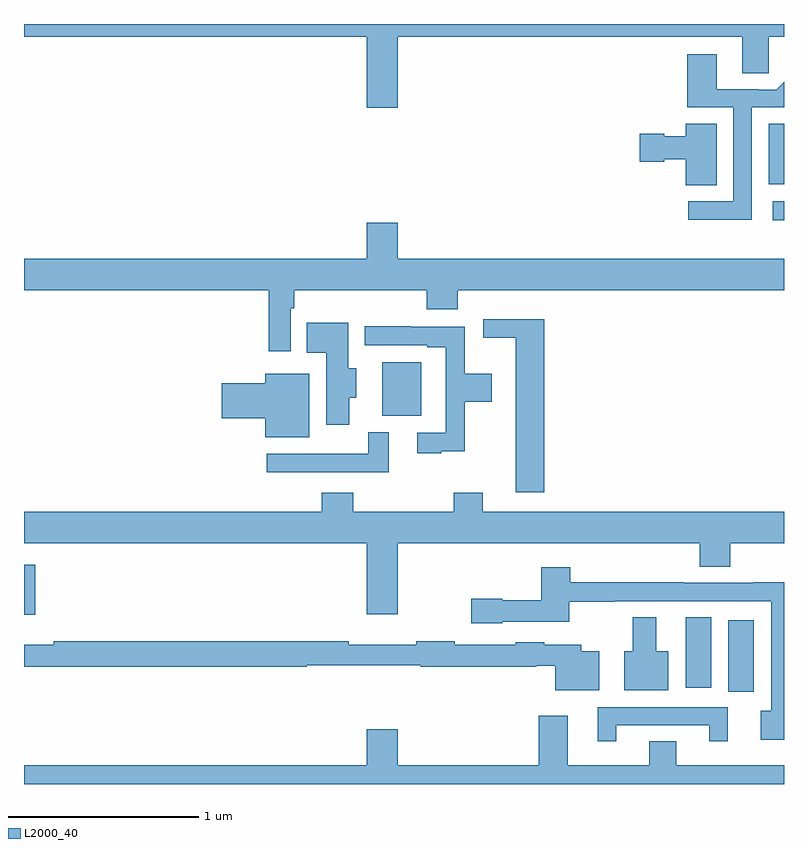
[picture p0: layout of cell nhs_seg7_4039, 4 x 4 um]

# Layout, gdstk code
import gdstk
lib = gdstk.Library(unit=1e-6, precision=1e-09)
def R(c, l, rs):  # rectangles x0, y0, x1, y1
    for r in rs: c.add(gdstk.rectangle(r[:2], r[2:], *l))
def P(c, l, *ps):  # polygons
    for p in ps: c.add(gdstk.Polygon(p, *l))
L2000_40 = (2000, 40)

nhs_seg7_4039 = lib.new_cell('nhs_seg7_4039')
R(nhs_seg7_4039, L2000_40, [(370.706,1014.486,370.84,1014.862), (370.484,1014.507,370.618,1014.878), (367,1014.89,367.06,1015.153), (368.885,1015.937,369.091,1016.221), (370.941,1016.966,371,1017.067), (370.919,1017.156,371,1017.476)])
P(nhs_seg7_4039, L2000_40, [(368.968,1017.932),(370.781,1017.932),(370.781,1017.742),(370.92,1017.742),(370.92,1017.932),(371,1017.932),(371,1018),(367,1018),(367,1017.932),(368.804,1017.932),(368.804,1017.558),(368.968,1017.558)],
  [(370.83,1017.561),(371,1017.561),(371,1017.695),(370.959,1017.654),(370.865,1017.654),(370.865,1017.657),(370.645,1017.657),(370.645,1017.841),(370.49,1017.841),(370.49,1017.561),(370.734,1017.561),(370.734,1017.066),(370.497,1017.066),(370.497,1016.969),(370.83,1016.969)],
  [(370.645,1017.476),(370.484,1017.476),(370.484,1017.409),(370.371,1017.409),(370.371,1017.422),(370.242,1017.422),(370.242,1017.275),(370.371,1017.275),(370.371,1017.287),(370.484,1017.287),(370.484,1017.151),(370.645,1017.151)],
  [(368.403,1016.504),(368.423,1016.504),(368.423,1016.6),(369.119,1016.6),(369.119,1016.498),(369.284,1016.498),(369.284,1016.6),(371,1016.6),(371,1016.764),(368.968,1016.764),(368.968,1016.953),(368.804,1016.953),(368.804,1016.764),(367,1016.764),(367,1016.6),(368.287,1016.6),(368.287,1016.277),(368.403,1016.277)],
  [(369.737,1016.446),(369.417,1016.446),(369.417,1016.348),(369.587,1016.348),(369.587,1015.536),(369.737,1015.536)],
  [(368.713,1016.032),(368.749,1016.032),(368.749,1016.187),(368.707,1016.187),(368.707,1016.428),(368.488,1016.428),(368.488,1016.27),(368.591,1016.27),(368.591,1015.89),(368.713,1015.89)],
  [(369.197,1015.751),(369.32,1015.751),(369.32,1016.011),(369.463,1016.011),(369.463,1016.158),(369.32,1016.158),(369.32,1016.406),(369.035,1016.406),(369.035,1016.408),(368.793,1016.408),(368.793,1016.31),(369.122,1016.31),(369.122,1016.298),(369.219,1016.298),(369.219,1015.848),(369.069,1015.848),(369.069,1015.74),(369.197,1015.74)],
  [(368.5,1016.158),(368.27,1016.158),(368.27,1016.108),(368.04,1016.108),(368.04,1015.925),(368.27,1015.925),(368.27,1015.826),(368.5,1015.826)],
  [(368.92,1015.852),(368.811,1015.852),(368.811,1015.738),(368.596,1015.738),(368.596,1015.737),(368.277,1015.737),(368.277,1015.641),(368.92,1015.641)],
  [(368.968,1015.268),(370.556,1015.268),(370.556,1015.144),(370.716,1015.144),(370.716,1015.268),(371,1015.268),(371,1015.432),(369.415,1015.432),(369.415,1015.534),(369.263,1015.534),(369.263,1015.432),(368.732,1015.432),(368.732,1015.534),(368.567,1015.534),(368.567,1015.432),(367,1015.432),(367,1015.268),(368.804,1015.268),(368.804,1014.894),(368.968,1014.894)],
  [(371,1015.061),(370.838,1015.061),(370.838,1015.059),(370.472,1015.059),(370.472,1015.061),(369.875,1015.061),(369.875,1015.141),(369.722,1015.141),(369.722,1014.967),(369.516,1014.967),(369.516,1014.975),(369.354,1014.975),(369.354,1014.845),(369.516,1014.845),(369.516,1014.854),(369.87,1014.854),(369.87,1014.958),(370.109,1014.958),(370.109,1014.963),(370.934,1014.963),(370.934,1014.386),(370.878,1014.386),(370.878,1014.233),(371,1014.233)],
  [(370.39,1014.7),(370.327,1014.7),(370.327,1014.878),(370.205,1014.878),(370.205,1014.7),(370.16,1014.7),(370.16,1014.494),(370.39,1014.494)],
  [(370.027,1014.7),(369.934,1014.7),(369.934,1014.733),(369.738,1014.733),(369.738,1014.745),(369.588,1014.745),(369.588,1014.732),(369.266,1014.732),(369.266,1014.752),(369.064,1014.752),(369.064,1014.733),(368.708,1014.733),(368.708,1014.752),(367.156,1014.752),(367.156,1014.733),(367,1014.733),(367,1014.616),(368.488,1014.616),(368.488,1014.624),(369.088,1014.624),(369.088,1014.616),(369.695,1014.616),(369.695,1014.623),(369.797,1014.623),(369.797,1014.494),(370.027,1014.494)],
  [(370.117,1014.309),(370.607,1014.309),(370.607,1014.225),(370.705,1014.225),(370.705,1014.405),(370.019,1014.405),(370.019,1014.225),(370.117,1014.225)],
  [(371,1014.1),(370.432,1014.1),(370.432,1014.224),(370.292,1014.224),(370.292,1014.1),(369.862,1014.1),(369.862,1014.358),(369.71,1014.358),(369.71,1014.1),(368.968,1014.1),(368.968,1014.289),(368.804,1014.289),(368.804,1014.1),(367,1014.1),(367,1014),(371,1014)])

lib.write_gds('nhs_seg7_4039.gds')
